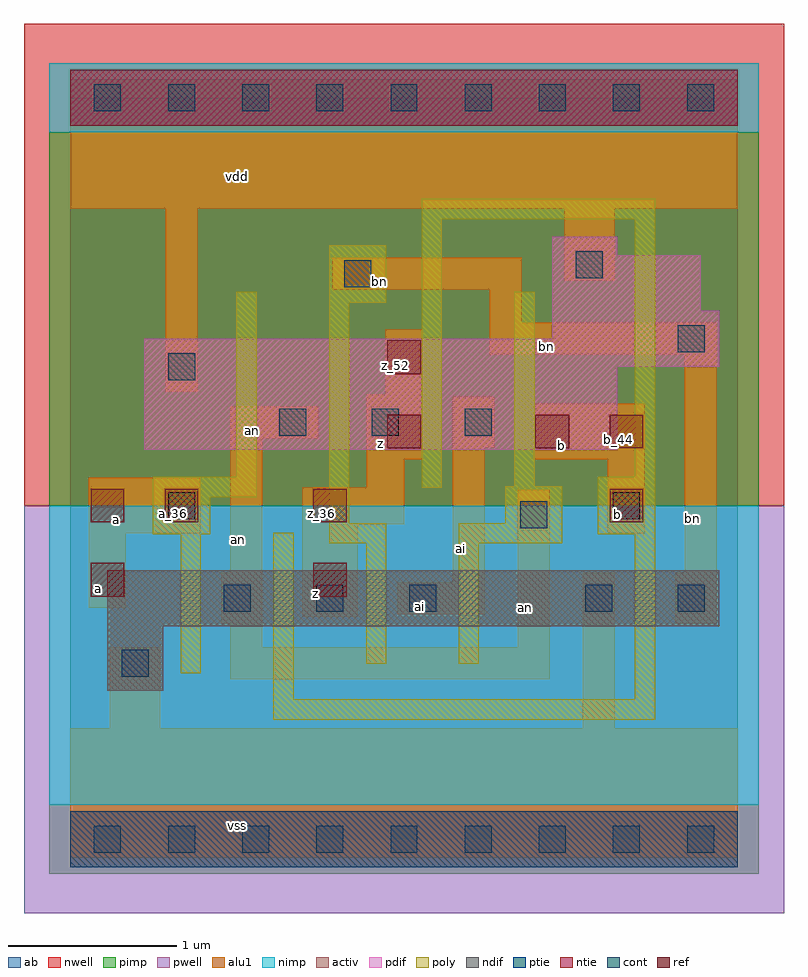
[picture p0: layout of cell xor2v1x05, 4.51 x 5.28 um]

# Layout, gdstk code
import gdstk
lib = gdstk.Library(unit=1e-6, precision=2.5e-09)
def R(c, l, rs):  # rectangles x0, y0, x1, y1
    for r in rs: c.add(gdstk.rectangle(r[:2], r[2:], *l))
def A(c, l, x, y, w, h, nx, ny, dx, dy):  # array of equal rectangles
    R(c, l, [(x+i*dx, y+j*dy, x+i*dx+w, y+j*dy+h) for i in range(nx) for j in range(ny)])
ndif = (3, 0)
pdif = (4, 0)
ntie = (5, 0)
ptie = (6, 0)
ref = (24, 0)
cont = (25, 0)
pwell = (41, 0)
nwell = (42, 0)
activ = (43, 0)
pimp = (44, 0)
nimp = (45, 0)
poly = (46, 0)
alu1 = (49, 0)
ab = (63, 0)

xor2v1x05 = lib.new_cell('xor2v1x05')
R(xor2v1x05, ndif, [(0.22,0.88,0.55,1.265), (0.22,1.265,3.85,1.595)])
R(xor2v1x05, pdif, [(0.44,2.31,3.245,2.805), (0.44,2.805,3.85,2.97), (2.86,2.97,3.85,3.135), (2.86,3.135,3.74,3.465), (2.86,3.465,3.245,3.575)])
R(xor2v1x05, ntie, [(0,4.235,3.96,4.565)])
R(xor2v1x05, ptie, [(0,-0.165,3.96,0.165)])
R(xor2v1x05, ref, [(0.12,1.44,0.32,1.64), (1.44,1.44,1.64,1.64), (0.12,1.88,0.32,2.08), (0.56,1.88,0.76,2.08), (1.44,1.88,1.64,2.08), (3.2,1.88,3.4,2.08), (1.88,2.32,2.08,2.52), (2.76,2.32,2.96,2.52), (3.2,2.32,3.4,2.52), (1.88,2.76,2.08,2.96)])
A(xor2v1x05, cont, 0.14, -0.08, 0.16, 0.16, 9, 2, 0.44, 4.4)
A(xor2v1x05, cont, 0.91, 1.35, 0.16, 0.16, 3, 1, 0.55, 0)
A(xor2v1x05, cont, 1.24, 2.395, 0.16, 0.16, 3, 1, 0.55, 0)
R(xor2v1x05, cont, [(0.305,0.965,0.465,1.125), (3.055,1.35,3.215,1.51), (3.605,1.35,3.765,1.51), (2.67,1.845,2.83,2.005), (0.58,1.9,0.74,2.06), (3.22,1.9,3.38,2.06), (0.58,2.725,0.74,2.885), (3.605,2.89,3.765,3.05), (1.625,3.275,1.785,3.435), (3,3.33,3.16,3.49)])
R(xor2v1x05, pwell, [(-0.275,-0.44,4.235,1.98)])
R(xor2v1x05, nwell, [(-0.275,1.98,4.235,4.84)])
R(xor2v1x05, activ, [(0,-0.165,3.96,0.165), (0.22,0.88,0.55,1.265), (0.22,1.265,3.85,1.595), (0.44,2.31,3.245,2.805), (0.44,2.805,3.85,2.97), (2.86,2.97,3.85,3.135), (2.86,3.135,3.74,3.465), (2.86,3.465,3.245,3.575), (0,4.235,3.96,4.565)])
R(xor2v1x05, pimp, [(-0.125,-0.205,4.085,0.205), (-0.125,1.98,4.085,4.195)])
R(xor2v1x05, nimp, [(-0.125,0.205,4.085,1.98), (-0.125,4.195,4.085,4.605)])
R(xor2v1x05, poly, [(1.205,0.71,3.47,0.83), (1.205,0.83,1.325,1.82), (3.35,0.83,3.47,1.81), (0.655,0.985,0.775,1.81), (1.755,1.04,1.875,1.755), (2.305,1.04,2.425,1.755), (1.535,1.755,1.875,1.875), (2.305,1.755,2.92,1.875), (0.49,1.81,0.83,2.03), (3.13,1.81,3.47,2.15), (1.535,1.875,1.655,3.185), (2.58,1.875,2.92,2.095), (0.49,2.03,1.105,2.15), (2.085,2.085,2.205,3.68), (2.635,2.095,2.755,3.25), (0.985,2.15,1.105,3.25), (3.35,2.15,3.47,3.68), (1.535,3.185,1.875,3.525), (2.085,3.68,3.47,3.8)])
R(xor2v1x05, alu1, [(0,-0.11,3.96,0.66), (0.235,0.66,0.535,1.14), (3.04,0.66,3.23,1.58), (0.95,0.95,2.845,1.14), (0.95,1.14,1.14,1.28), (2.655,1.14,2.845,2.075), (0.895,1.28,1.14,1.58), (3.59,1.28,3.835,1.58), (1.375,1.32,1.705,1.87), (1.94,1.335,2.46,1.525), (0.11,1.375,0.33,1.815), (2.27,1.525,2.46,2.325), (0.95,1.58,1.14,2.38), (3.645,1.58,3.835,2.875), (0.11,1.815,0.77,2.145), (3.19,1.815,3.41,2.255), (1.375,1.87,1.98,2.09), (1.76,2.09,1.98,2.255), (1.76,2.255,2.09,2.64), (2.75,2.255,3.41,2.585), (2.27,2.325,2.515,2.625), (0.95,2.38,1.47,2.57), (1.87,2.64,2.09,3.025), (0.565,2.655,0.755,3.74), (2.49,2.875,3.835,3.065), (2.49,3.065,2.68,3.26), (1.555,3.26,2.68,3.45), (2.93,3.315,3.23,3.74), (0,3.74,3.96,4.51)])
R(xor2v1x05, ab, [(0,0,3.96,4.4)])
xor2v1x05.add(gdstk.Label('vss', (0.99,0.0825), layer=49, texttype=0))
xor2v1x05.add(gdstk.Label('bn', (3.6925,1.9025), layer=49, texttype=0))
xor2v1x05.add(gdstk.Label('b', (3.245,1.925), layer=49, texttype=0))
xor2v1x05.add(gdstk.Label('an', (2.7025,1.3725), layer=49, texttype=0))
xor2v1x05.add(gdstk.Label('ai', (2.07,1.3825), layer=49, texttype=0))
xor2v1x05.add(gdstk.Label('b', (2.915,2.3375), layer=49, texttype=0))
xor2v1x05.add(gdstk.Label('ai', (2.3175,1.725), layer=49, texttype=0))
xor2v1x05.add(gdstk.Label('z', (1.4575,1.4575), layer=49, texttype=0))
xor2v1x05.add(gdstk.Label('z', (1.8425,2.35), layer=49, texttype=0))
xor2v1x05.add(gdstk.Label('an', (0.9975,1.78), layer=49, texttype=0))
xor2v1x05.add(gdstk.Label('a', (0.165,1.485), layer=49, texttype=0))
xor2v1x05.add(gdstk.Label('a', (0.275,1.8975), layer=49, texttype=0))
xor2v1x05.add(gdstk.Label('an', (1.08,2.4275), layer=49, texttype=0))
xor2v1x05.add(gdstk.Label('bn', (2.825,2.9225), layer=49, texttype=0))
xor2v1x05.add(gdstk.Label('bn', (1.835,3.3075), layer=49, texttype=0))
xor2v1x05.add(gdstk.Label('vdd', (0.99,3.9325), layer=49, texttype=0))
xor2v1x05.add(gdstk.Label('a_28', (0.17,1.49), layer=24, texttype=0))
xor2v1x05.add(gdstk.Label('a_36', (0.61,1.93), layer=24, texttype=0))
xor2v1x05.add(gdstk.Label('z_28', (1.49,1.49), layer=24, texttype=0))
xor2v1x05.add(gdstk.Label('z_36', (1.49,1.93), layer=24, texttype=0))
xor2v1x05.add(gdstk.Label('z_52', (1.93,2.81), layer=24, texttype=0))
xor2v1x05.add(gdstk.Label('a_36', (0.17,1.93), layer=24, texttype=0))
xor2v1x05.add(gdstk.Label('b_44', (2.81,2.37), layer=24, texttype=0))
xor2v1x05.add(gdstk.Label('b_36', (3.25,1.93), layer=24, texttype=0))
xor2v1x05.add(gdstk.Label('b_44', (3.25,2.37), layer=24, texttype=0))
xor2v1x05.add(gdstk.Label('z_44', (1.93,2.37), layer=24, texttype=0))

lib.write_gds('xor2v1x05.gds')
